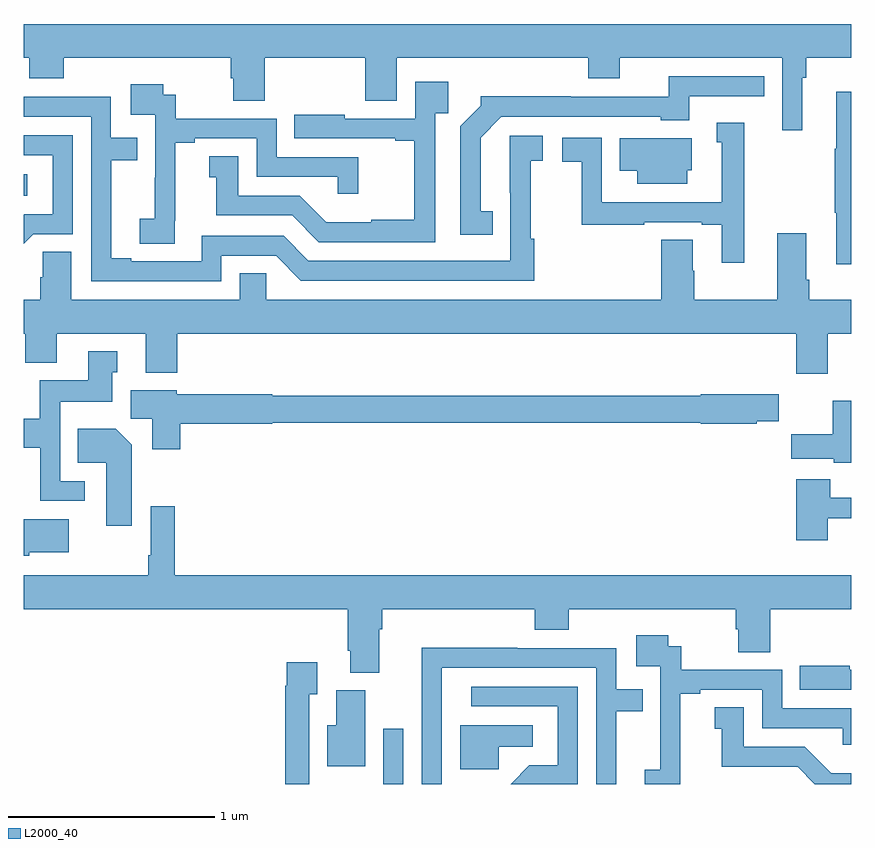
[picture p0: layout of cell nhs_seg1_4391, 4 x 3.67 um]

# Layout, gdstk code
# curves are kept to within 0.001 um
import gdstk
lib = gdstk.Library(unit=1e-6, precision=1e-09)
def R(c, l, rs):  # rectangles x0, y0, x1, y1
    for r in rs: c.add(gdstk.rectangle(r[:2], r[2:], *l))
def P(c, l, *ps):  # polygons
    for p in ps: c.add(gdstk.Polygon(p, *l))
L2000_40 = (2000, 40)

nhs_seg1_4391 = lib.new_cell('nhs_seg1_4391')
R(nhs_seg1_4391, L2000_40, [(350.739,572.199,350.835,572.467), (349,575.042,349.018,575.146)])
P(nhs_seg1_4391, L2000_40, [(349,575.708),(349.028,575.708),(349.028,575.609),(349.193,575.609),(349.193,575.708),(350,575.708),(350,575.61),(350.012,575.61),(350.012,575.5),(350.165,575.5),(350.165,575.708),(350.651,575.708),(350.651,575.5),(350.803,575.5),(350.803,575.708),(351.728,575.708),(351.728,575.609),(351.88,575.609),(351.88,575.708),(352.665,575.708),(352.665,575.358),(352.762,575.358),(352.762,575.612),(352.781,575.612),(352.781,575.708),(353,575.708),(353,575.872),(349,575.872)],
  [(351.266,574.967),(351.208,574.967),(351.208,575.323),(351.309,575.424),(352.08,575.424),(352.08,575.408),(352.216,575.408),(352.216,575.523),(352.58,575.523),(352.58,575.619),(352.117,575.619),(352.117,575.52),(351.644,575.52),(351.644,575.522),(351.21,575.522),(351.21,575.477),(351.111,575.378),(351.111,574.854),(351.266,574.854)],
  [(350.988,575.441),(351.053,575.441),(351.053,575.593),(350.892,575.593),(350.892,575.415),(350.551,575.415),(350.551,575.434),(350.308,575.434),(350.308,575.319),(350.795,575.319),(350.795,575.307),(350.887,575.307),(350.887,574.927),(350.681,574.927),(350.681,574.915),(350.462,574.915),(350.334,575.043),(350.038,575.043),(350.038,575.234),(349.898,575.234),(349.898,575.131),(349.931,575.131),(349.931,574.947),(350.298,574.947),(350.427,574.818),(350.988,574.818)],
  [(349.73,574.921),(349.732,574.921),(349.732,575.299),(349.828,575.299),(349.828,575.319),(350.127,575.319),(350.127,575.133),(350.517,575.133),(350.517,575.052),(350.618,575.052),(350.618,575.229),(350.223,575.229),(350.223,575.415),(349.736,575.415),(349.736,575.529),(349.674,575.529),(349.674,575.581),(349.518,575.581),(349.518,575.433),(349.635,575.433),(349.635,575.129),(349.634,575.129),(349.634,574.932),(349.56,574.932),(349.56,574.81),(349.73,574.81)],
  [(353,575.545),(352.928,575.545),(352.928,575.27),(352.921,575.27),(352.921,574.959),(352.928,574.959),(352.928,574.71),(353,574.71)],
  [(349.956,574.752),(350.22,574.752),(350.34,574.632),(351.467,574.632),(351.467,574.835),(351.45,574.835),(351.45,575.211),(351.508,575.211),(351.508,575.332),(351.35,575.332),(351.351,574.728),(350.376,574.728),(350.256,574.848),(349.86,574.848),(349.86,574.725),(349.519,574.725),(349.519,574.74),(349.423,574.74),(349.423,575.214),(349.55,575.214),(349.55,575.322),(349.422,575.322),(349.422,575.52),(349,575.52),(349,575.424),(349.326,575.424),(349.326,574.629),(349.956,574.629)],
  [(352.483,575.395),(352.349,575.395),(352.349,575.301),(352.373,575.301),(352.373,575.01),(351.796,575.01),(351.796,575.011),(351.795,575.011),(351.795,575.322),(351.603,575.322),(351.603,575.206),(351.697,575.206),(351.697,574.902),(351.998,574.902),(351.998,574.914),(352.277,574.914),(352.277,574.902),(352.373,574.902),(352.373,574.719),(352.483,574.719)],
  [(349.047,574.857),(349.236,574.857),(349.236,575.334),(349,575.334),(349,575.238),(349.14,575.238),(349.14,574.953),(349.002,574.953),(349,574.951),(349,574.81)],
  [(352.207,575.166),(352.228,575.166),(352.228,575.32),(351.88,575.32),(351.88,575.162),(351.965,575.162),(351.965,575.099),(352.207,575.099)],
  [(352.885,574.376),(353,574.376),(353,574.54),(352.796,574.54),(352.796,574.636),(352.783,574.636),(352.783,574.861),(352.643,574.861),(352.643,574.54),(352.242,574.54),(352.242,574.679),(352.234,574.679),(352.234,574.829),(352.082,574.829),(352.082,574.54),(350.172,574.54),(350.172,574.667),(350.045,574.667),(350.045,574.54),(349.231,574.54),(349.231,574.772),(349.092,574.772),(349.092,574.649),(349.079,574.649),(349.079,574.54),(349,574.54),(349,574.376),(349.007,574.376),(349.007,574.235),(349.159,574.235),(349.159,574.376),(349.589,574.376),(349.589,574.187),(349.742,574.187),(349.742,574.376),(352.733,574.376),(352.733,574.182),(352.885,574.182)],
  [(349.294,573.663),(349.176,573.663),(349.176,574.046),(349.429,574.046),(349.429,574.188),(349.453,574.188),(349.453,574.291),(349.313,574.291),(349.313,574.15),(349.078,574.15),(349.078,573.964),(349,573.964),(349,573.824),(349.08,573.824),(349.08,573.567),(349.294,573.567)],
  [(349.757,573.941),(350.202,573.941),(350.202,573.946),(352.272,573.946),(352.272,573.941),(352.544,573.941),(352.544,573.951),(352.65,573.951),(352.65,574.083),(352.272,574.083),(352.272,574.075),(350.202,574.075),(350.202,574.083),(349.74,574.083),(349.74,574.102),(349.517,574.102),(349.517,573.964),(349.622,573.964),(349.622,573.816),(349.757,573.816)],
  [(353,574.051),(352.91,574.051),(352.91,573.89),(352.71,573.89),(352.71,573.77),(352.914,573.77),(352.914,573.752),(353,573.752)],
  [(349.522,573.838),(349.444,573.916),(349.261,573.916),(349.261,573.752),(349.4,573.752),(349.4,573.447),(349.522,573.447)],
  [(352.885,573.483),(353,573.483),(353,573.583),(352.898,573.583),(352.898,573.673),(352.733,573.673),(352.733,573.378),(352.885,573.378)],
  [(350.719,572.948),(350.732,572.948),(350.732,573.044),(351.47,573.044),(351.47,572.945),(351.635,572.945),(351.635,573.044),(352.442,573.044),(352.442,572.946),(352.454,572.946),(352.454,572.836),(352.607,572.836),(352.607,573.044),(353,573.044),(353,573.208),(349.73,573.208),(349.73,573.541),(349.614,573.541),(349.614,573.304),(349.602,573.304),(349.602,573.208),(349,573.208),(349,573.044),(350.567,573.044),(350.567,572.842),(350.579,572.842),(350.579,572.737),(350.719,572.737)],
  [(349.026,573.32),(349.219,573.32),(349.219,573.478),(349,573.478),(349,573.302),(349.026,573.302)],
  [(352.172,572.257),(352.174,572.257),(352.174,572.635),(352.27,572.635),(352.27,572.655),(352.569,572.655),(352.569,572.469),(352.959,572.469),(352.959,572.388),(353,572.388),(353,572.565),(352.665,572.565),(352.665,572.751),(352.178,572.751),(352.178,572.865),(352.116,572.865),(352.116,572.917),(351.96,572.917),(351.96,572.769),(352.077,572.769),(352.077,572.465),(352.076,572.465),(352.076,572.268),(352.002,572.268),(352.002,572.199),(352.172,572.199)],
  [(351.021,572.76),(351.768,572.76),(351.768,572.199),(351.865,572.199),(351.865,572.55),(351.992,572.55),(351.992,572.658),(351.864,572.658),(351.864,572.856),(351.386,572.856),(351.386,572.858),(350.924,572.858),(350.924,572.554),(350.925,572.554),(350.925,572.199),(351.021,572.199)],
  [(350.379,572.632),(350.419,572.632),(350.419,572.788),(350.271,572.788),(350.271,572.675),(350.263,572.675),(350.263,572.199),(350.379,572.199)],
  [(353,572.751),(352.993,572.751),(352.993,572.77),(352.75,572.77),(352.75,572.655),(353,572.655)],
  [(351.678,572.67),(351.162,572.67),(351.162,572.574),(351.582,572.574),(351.582,572.289),(351.444,572.289),(351.354,572.199),(351.678,572.199)],
  [(350.65,572.652),(350.51,572.652),(350.51,572.482),(350.468,572.482),(350.468,572.285),(350.65,572.285)],
  [(353,572.251),(352.904,572.251),(352.776,572.379),(352.48,572.379),(352.48,572.57),(352.34,572.57),(352.34,572.467),(352.373,572.467),(352.373,572.283),(352.74,572.283),(352.824,572.199),(353,572.199)],
  [(351.297,572.378),(351.46,572.378),(351.46,572.482),(351.11,572.482),(351.11,572.271),(351.297,572.271)])

lib.write_gds('nhs_seg1_4391.gds')
